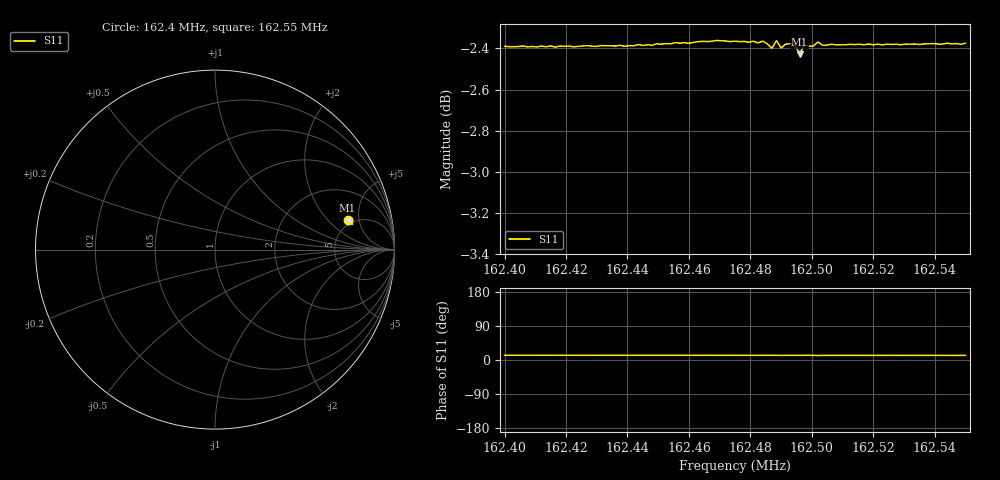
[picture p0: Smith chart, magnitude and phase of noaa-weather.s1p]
! Calibrated averaged scanner-service zoom
# Hz S RI R 50
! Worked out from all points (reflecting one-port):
!   101 points, 162.4 MHz to 162.55 MHz, reference 50 ohm
!   lowest |S11| = -2.4 dB at 162.496 MHz (marker M1), VSWR 7.20, Z = 227 + j171 ohm
!   phase of S11 starts at 12 deg and turns -0 deg over the sweep
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1.624e8  0.7415 0.1642
1.624195e8  0.7416 0.1638
1.624375e8  0.7422 0.163
1.62442e8  0.7419 0.1633
1.62457e8  0.7431 0.163
1.62469e8  0.7443 0.163
1.62475e8  0.7441 0.1626
1.624795e8  0.7436 0.1627
1.62481e8  0.7441 0.1624
1.624825e8  0.7434 0.1623
1.62484e8  0.7437 0.1644
1.624855e8  0.743 0.1622
1.62487e8  0.7409 0.1628
1.624885e8  0.7442 0.1628
1.6249e8  0.742 0.1586
1.624915e8  0.743 0.1617
1.624945e8  0.7428 0.1616
1.62496e8  0.7388 0.161
1.624975e8  0.7425 0.1615
1.62499e8  0.7416 0.1638
1.625005e8  0.7425 0.1603
1.62502e8  0.7451 0.1563
1.625035e8  0.7426 0.1613
1.625125e8  0.7431 0.1609
1.62532e8  0.7432 0.1605
1.62544e8  0.7438 0.1599
1.625485e8  0.7433 0.1601
1.6255e8  0.7438 0.1597
